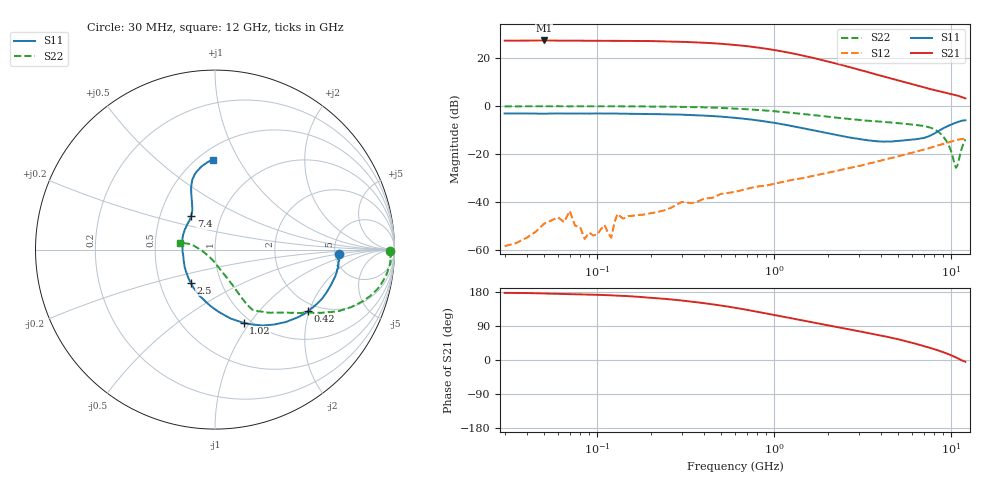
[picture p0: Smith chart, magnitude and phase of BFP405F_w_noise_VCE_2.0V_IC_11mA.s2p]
! Infineon Technologies  Discrete & RF Semiconductors
! BFP405F
! VCE =  2.0 V,  IC =  11 mA
! Common Emitter S-Parameters:  Nov 2015
# GHz  S  MA  R  50
!  f  S11  S21  S12  S22
! GHz  MAG  ANG  MAG  ANG  MAG  ANG  MAG  ANG
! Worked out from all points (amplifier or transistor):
!   239 points, 30 MHz to 12 GHz, reference 50 ohm
!   highest |S21| = 27.2 dB at 50 MHz (marker M1)
!   |S21| within 3 dB of that: start of sweep to 814.7 MHz
!   unconditionally stable (mu >= 1): 2.141 GHz to end of sweep
!   at 300 MHz: K = 0.14, MSG = 33.3 dB, |S12| = -40.0 dB
!   at 1.88 GHz: K = 0.93, MSG = 23.6 dB, |S12| = -28.3 dB
!   at 12 GHz: K = 1.39, MAG = 4.6 dB, |S12| = -13.6 dB
!   lowest NFmin = 1.74 dB at 450 MHz
!   S11 on the Smith chart (normalised r, x): 30 MHz: 5.47, -0.56; 420 MHz: 1.75, -1.96; 1.02 GHz: 0.93, -0.93; 2.5 GHz: 0.71, -0.28; 7.4 GHz: 0.72, +0.29; 12 GHz: 0.59, +0.79
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0.03  0.6936 -2.2  22.75 177.1  0.0012 140.1  0.9752 -0.6
0.05  0.6857 -4.2  22.98 175.5  0.0035 148.4  0.9807 -1.1
0.07  0.6898 -6.0  22.75 173.7  0.0065 39.0  0.9774 -2.4
0.085  0.6909 -7.0  22.68 172.9  0.0017 102.0  0.9825 -2.7
0.11  0.6894 -9.1  22.58 171.2  0.0033 107.2  0.9781 -3.8
0.12  0.6905 -10.3  22.54 170.7  0.0018 53.3  0.9818 -4.2
0.13  0.6893 -10.8  22.52 169.7  0.0056 65.3  0.9785 -4.4
0.14  0.6869 -11.9  22.56 169.3  0.0045 82.2  0.9799 -4.9
0.24  0.6679 -20.1  21.97 161.4  0.0067 77.0  0.9647 -8.5
0.3  0.6559 -24.7  21.55 157.0  0.01 86.3  0.9528 -10.5
0.42  0.6212 -33.6  20.43 148.7  0.0119 78.1  0.927 -14.1
0.6  0.5639 -45.7  18.53 137.7  0.0162 74.4  0.8779 -18.8
0.8  0.5006 -57.6  16.41 127.4  0.0209 70.9  0.8232 -22.9
1.02  0.4377 -68.7  14.34 118.1  0.0243 68.5  0.7679 -26.5
1.3  0.3701 -81.4  12.13 108.4  0.0295 66.1  0.7067 -29.7
1.64  0.3124 -95.3  10.06 99.5  0.0346 67.0  0.6472 -32.9
2.5  0.2292 -126.5  6.813 83.0  0.0483 64.4  0.5453 -40.2
4.5  0.1811 -179.6  3.764 59.6  0.0805 59.0  0.4522 -50.6
7.4  0.2306 125.2  2.297 33.4  0.1299 47.9  0.3627 -59.4
9.2  0.356 111.9  1.89 19.0  0.1652 38.8  0.2055 -64.5
10.6  0.446 103.3  1.671 6.9  0.1926 30.2  0.0513 -124.6
12  0.5012 91.0  1.431 -4.6  0.2099 22.1  0.2009 168.7
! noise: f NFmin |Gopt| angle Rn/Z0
0.45  1.74  0.18  5  0.33
0.9  1.75  0.17  8  0.34
1.5  1.81  0.15  13  0.24
1.9  1.84  0.13  20  0.28
2.4  1.98  0.12  27  0.33
3  2.05  0.1  39  0.35
3.5  2.11  0.07  44  0.43
4.5  2.28  0.06  40  0.2
5.5  2.5  0.03  17  0.06
